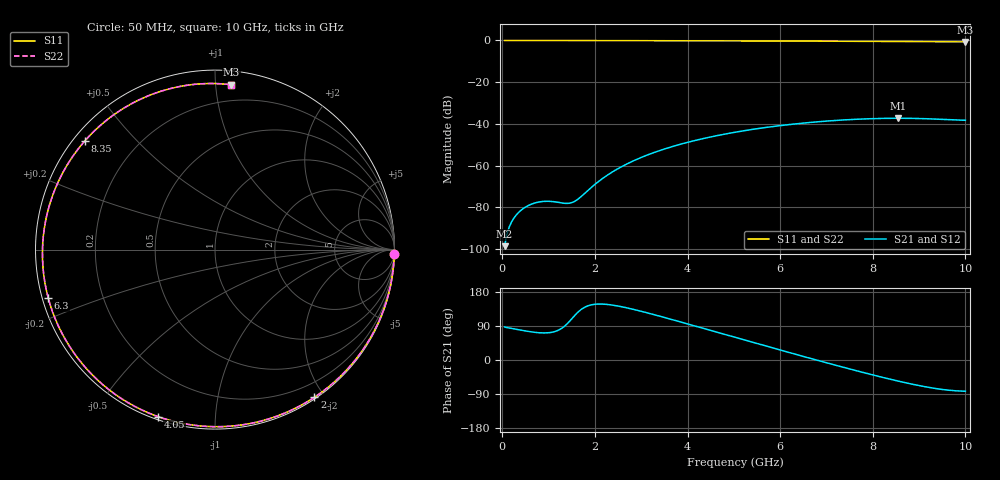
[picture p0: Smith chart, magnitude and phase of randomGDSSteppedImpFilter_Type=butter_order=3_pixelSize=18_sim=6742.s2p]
! freq	dB(S11)	phase(S11)	dB(S12)	phase(S12)
!  dB(S21)	phase(S21)	dB(S22)	phase(S22)
!S-par simulation data
#  GHz  S  DB  R 50
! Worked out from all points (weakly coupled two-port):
!   200 points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, 50 MHz to 10 GHz, reference 50 ohm
!   highest |S21| = -37.32 dB at 8.55 GHz (marker M1); lowest = -98.6 dB at 50 MHz (marker M2)
!   lowest |S11| = -0.7 dB at 10 GHz (marker M3), VSWR 25.01, Z = 4.42 + j55 ohm
!   |S11| at or under -10 dB: nowhere
!   |S22| runs from -0.7 to 0.0 dB; largest |S21 - S12| = 0
!   S11 on the Smith chart (normalised r, x): 50 MHz: 3, -82; 2 GHz: 0.02, -1.88; 4.05 GHz: 0.01, -0.72; 6.3 GHz: 0.02, -0.14; 8.35 GHz: 0.03, +0.36; 10 GHz: 0.09, +1.10
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0.05  -0.01 -1.4  -98.65 87.0  -98.65 87.0  -0.01 -1.4
0.5  -0.02 -14.3  -79.92 76.6  -79.92 76.6  -0.02 -14.3
0.7  -0.02 -20.0  -77.96 73.0  -77.96 73.0  -0.02 -20.0
0.9  -0.03 -25.7  -77.16 71.4  -77.16 71.4  -0.03 -25.7
1.45  -0.05 -41.1  -78.05 101.9  -78.05 101.9  -0.05 -41.1
1.6  -0.06 -45.2  -76.65 122.2  -76.65 122.2  -0.06 -45.2
1.75  -0.06 -49.3  -73.93 137.2  -73.93 137.2  -0.06 -49.3
2  -0.07 -56.1  -69.03 147.1  -69.03 147.1  -0.07 -56.1
2.3  -0.08 -64.1  -64.14 146.2  -64.14 146.2  -0.08 -64.1
2.6  -0.09 -72.0  -60.24 140.0  -60.24 140.0  -0.09 -72.0
3.4  -0.12 -92.6  -52.79 115.6  -52.79 115.6  -0.12 -92.6
4.05  -0.15 -108.8  -48.58 93.5  -48.58 93.5  -0.15 -108.8
5.05  -0.20 -133.2  -43.92 58.9  -43.92 58.9  -0.20 -133.2
5.7  -0.24 -149.0  -41.70 36.5  -41.70 36.5  -0.24 -149.0
6.3  -0.29 -163.9  -40.08 16.1  -40.08 16.1  -0.29 -163.9
6.7  -0.32 -174.0  -39.22 2.7  -39.22 2.7  -0.32 -174.0
7.55  -0.41 163.3  -37.90 -25.2  -37.90 -25.2  -0.41 163.3
8.35  -0.49 140.0  -37.34 -49.9  -37.34 -49.9  -0.49 140.0
8.55  -0.52 133.9  -37.32 -55.7  -37.32 -55.7  -0.52 133.9
9.3  -0.61 109.3  -37.65 -74.1  -37.65 -74.1  -0.61 109.3
9.65  -0.65 97.1  -37.99 -79.8  -37.99 -79.8  -0.65 97.1
10  -0.69 84.4  -38.27 -82.4  -38.27 -82.4  -0.69 84.4
